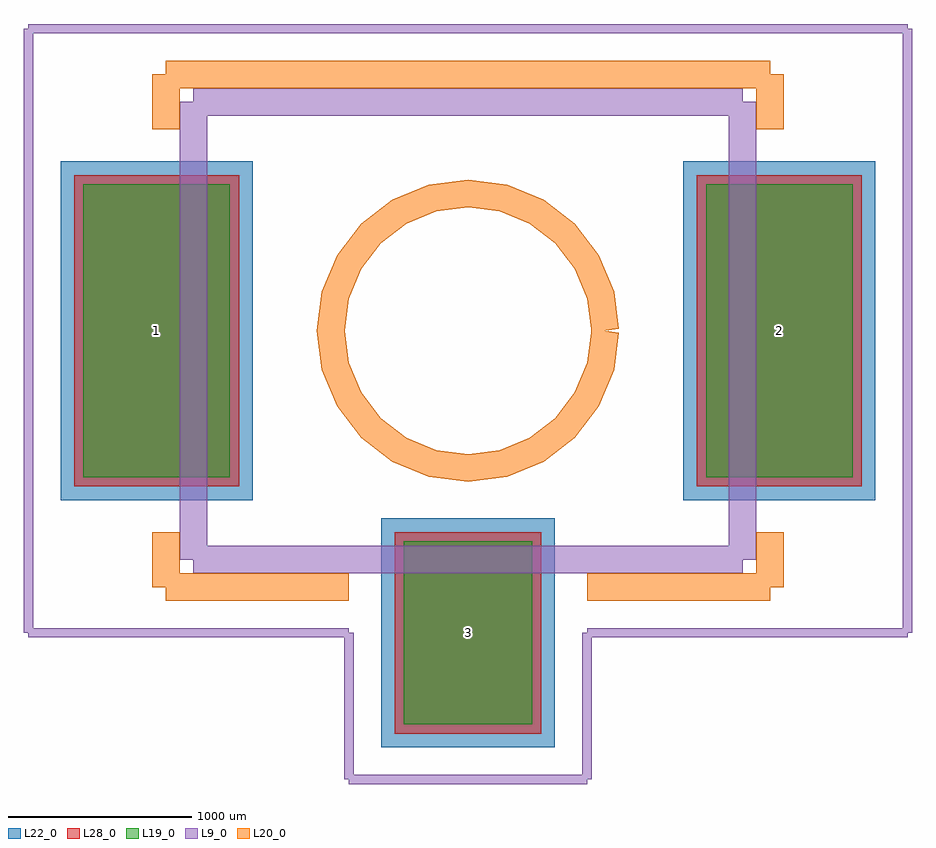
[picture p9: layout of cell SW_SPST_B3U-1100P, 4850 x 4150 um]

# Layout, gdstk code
import gdstk
lib = gdstk.Library(unit=1e-6, precision=1e-09)
def R(c, l, rs):  # rectangles x0, y0, x1, y1
    for r in rs: c.add(gdstk.rectangle(r[:2], r[2:], *l))
L9_0 = (9, 0)
L19_0 = (19, 0)
L20_0 = (20, 0)
L22_0 = (22, 0)
L28_0 = (28, 0)

sw_spst_b3u_1100p = lib.new_cell('SW_SPST_B3U-1100P')
R(sw_spst_b3u_1100p, L19_0, [(-350,-2150,350,-1150), (-2100,-800,-1300,800), (1300,-800,2100,800)])
R(sw_spst_b3u_1100p, L22_0, [(-475,-2275,475,-1025), (-2225,-925,-1175,925), (1175,-925,2225,925)])
R(sw_spst_b3u_1100p, L28_0, [(-400,-2200,400,-1100), (-2150,-850,-1250,850), (1250,-850,2150,850)])
sw_spst_b3u_1100p.add(gdstk.FlexPath([(-1500,-1250),(-1500,1250)], 149.998, ends="flush", simple_path=True, layer=9, datatype=0))  # L9_0
sw_spst_b3u_1100p.add(gdstk.FlexPath([(1500,-1250),(-1500,-1250)], 149.998, ends="flush", simple_path=True, layer=9, datatype=0))  # L9_0
sw_spst_b3u_1100p.add(gdstk.FlexPath([(1500,1250),(1500,-1250)], 149.998, ends="flush", simple_path=True, layer=9, datatype=0))  # L9_0
sw_spst_b3u_1100p.add(gdstk.FlexPath([(-1500,1250),(1500,1250)], 149.998, ends="flush", simple_path=True, layer=9, datatype=0))  # L9_0
sw_spst_b3u_1100p.add(gdstk.FlexPath([(1650,1400),(1650,1100)], 149.998, ends="flush", simple_path=True, layer=20, datatype=0))  # L20_0
sw_spst_b3u_1100p.add(gdstk.FlexPath([(-1650,1400),(1650,1400)], 149.998, ends="flush", simple_path=True, layer=20, datatype=0))  # L20_0
sw_spst_b3u_1100p.add(gdstk.FlexPath([(-1650,1100),(-1650,1400)], 149.998, ends="flush", simple_path=True, layer=20, datatype=0))  # L20_0
sw_spst_b3u_1100p.add(gdstk.FlexPath([(1650,-1400),(1650,-1100)], 149.998, ends="flush", simple_path=True, layer=20, datatype=0))  # L20_0
sw_spst_b3u_1100p.add(gdstk.FlexPath([(1650,-1400),(650,-1400)], 149.998, ends="flush", simple_path=True, layer=20, datatype=0))  # L20_0
sw_spst_b3u_1100p.add(gdstk.FlexPath([(-1650,-1100),(-1650,-1400)], 149.998, ends="flush", simple_path=True, layer=20, datatype=0))  # L20_0
sw_spst_b3u_1100p.add(gdstk.FlexPath([(750,0),(724.444,194.114),(649.519,375),(530.33,530.33),(375,649.519),(194.114,724.444),(0,750),(-194.114,724.444),(-375,649.519),(-530.33,530.33),(-649.519,375),(-724.444,194.114),(-750,0),(-724.444,-194.114),(-649.519,-375),(-530.33,-530.33),(-375,-649.519),(-194.114,-724.444),(0,-750),(194.114,-724.444),(375,-649.519),(530.33,-530.33),(649.519,-375),(724.444,-194.114),(750,0)], 149.998, ends="flush", simple_path=True, layer=20, datatype=0))  # L20_0
sw_spst_b3u_1100p.add(gdstk.FlexPath([(-2400,1650),(-2400,-1650)], 50, ends="flush", simple_path=True, layer=9, datatype=0))  # L9_0
sw_spst_b3u_1100p.add(gdstk.FlexPath([(2400,1650),(-2400,1650)], 50, ends="flush", simple_path=True, layer=9, datatype=0))  # L9_0
sw_spst_b3u_1100p.add(gdstk.FlexPath([(2400,-1650),(2400,1650)], 50, ends="flush", simple_path=True, layer=9, datatype=0))  # L9_0
sw_spst_b3u_1100p.add(gdstk.FlexPath([(-2400,-1650),(-650,-1650)], 50, ends="flush", simple_path=True, layer=9, datatype=0))  # L9_0
sw_spst_b3u_1100p.add(gdstk.FlexPath([(-1650,-1400),(-650,-1400)], 149.998, ends="flush", simple_path=True, layer=20, datatype=0))  # L20_0
sw_spst_b3u_1100p.add(gdstk.FlexPath([(650,-1650),(2400,-1650)], 50, ends="flush", simple_path=True, layer=9, datatype=0))  # L9_0
sw_spst_b3u_1100p.add(gdstk.FlexPath([(650,-2450),(650,-1650)], 50, ends="flush", simple_path=True, layer=9, datatype=0))  # L9_0
sw_spst_b3u_1100p.add(gdstk.FlexPath([(-650,-2450),(650,-2450)], 50, ends="flush", simple_path=True, layer=9, datatype=0))  # L9_0
sw_spst_b3u_1100p.add(gdstk.FlexPath([(-650,-1650),(-650,-2450)], 50, ends="flush", simple_path=True, layer=9, datatype=0))  # L9_0
sw_spst_b3u_1100p.add(gdstk.Label('3', (0,-1650), layer=28, texttype=0))
sw_spst_b3u_1100p.add(gdstk.Label('2', (1700,0), layer=28, texttype=0))
sw_spst_b3u_1100p.add(gdstk.Label('1', (-1700,0), layer=28, texttype=0))
sw_spst_b3u_1100p.add(gdstk.Label('type', (0,-3500), layer=9, texttype=0))
sw_spst_b3u_1100p.add(gdstk.Label('devicename', (0,2500), layer=9, texttype=0))

lib.write_gds('SW_SPST_B3U-1100P.gds')
